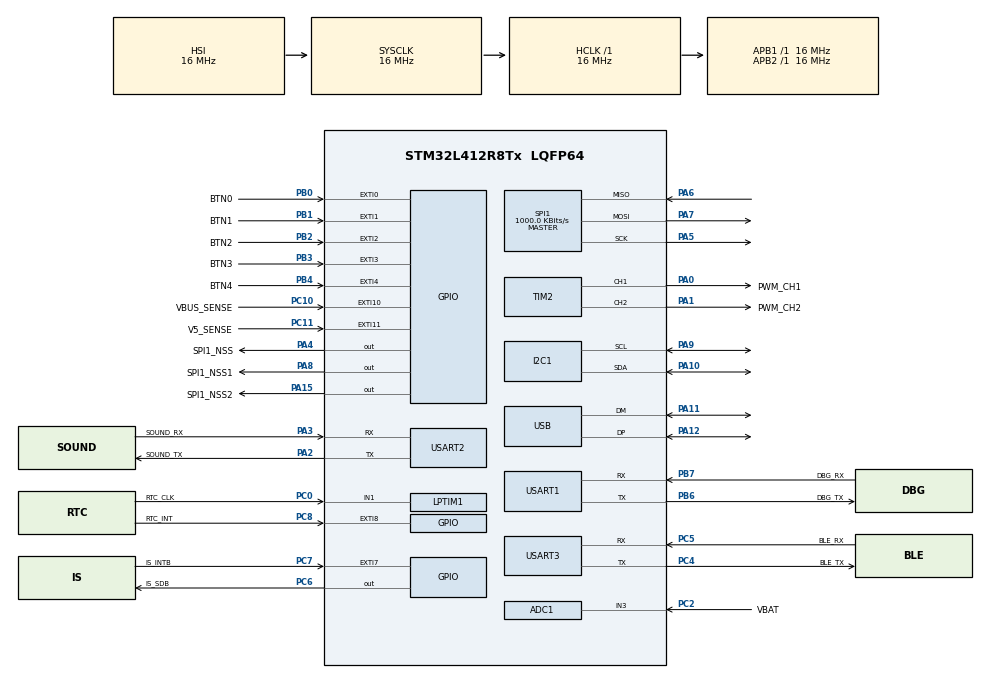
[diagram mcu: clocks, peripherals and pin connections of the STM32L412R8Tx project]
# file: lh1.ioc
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ADC1.Channel-0\#ChannelRegularConversion=ADC_CHANNEL_3
ADC1.NbrOfConversionFlag=1
ADC1.OffsetNumber-0\#ChannelRegularConversion=ADC_OFFSET_NONE
ADC1.Rank-0\#ChannelRegularConversion=1
ADC1.SamplingTime-0\#ChannelRegularConversion=ADC_SAMPLETIME_2CYCLES_5
ADC1.master=1
I2C1.Timing=0x00503D58
Mcu.Family=STM32L4
Mcu.Name=STM32L412R8Tx
Mcu.Package=LQFP64
NVIC.EXTI0_IRQn=true\:0\:0\:false\:false\:true\:true\:true\:true
NVIC.EXTI15_10_IRQn=true\:0\:0\:false\:false\:true\:true\:true\:true
NVIC.EXTI1_IRQn=true\:0\:0\:false\:false\:true\:true\:true\:true
NVIC.EXTI2_IRQn=true\:0\:0\:false\:false\:true\:true\:true\:true
NVIC.EXTI3_IRQn=true\:0\:0\:false\:false\:true\:true\:true\:true
NVIC.EXTI4_IRQn=true\:0\:0\:false\:false\:true\:true\:true\:true
NVIC.I2C1_EV_IRQn=true\:0\:0\:false\:false\:true\:true\:true\:true
NVIC.PriorityGroup=NVIC_PRIORITYGROUP_4
NVIC.RTC_Alarm_IRQn=true\:0\:0\:false\:false\:true\:true\:true\:true
NVIC.RTC_WKUP_IRQn=true\:0\:0\:false\:false\:true\:true\:true\:true
NVIC.USB_IRQn=true\:0\:0\:false\:false\:true\:true\:true\:true
PA0.GPIO_Label=PWM_CH1
PA0.Signal=S_TIM2_CH1
PA1.GPIO_Label=PWM_CH2
PA1.Signal=S_TIM2_CH2
PA10.GPIO_Pu=GPIO_PULLUP
PA10.Mode=I2C
PA10.Signal=I2C1_SDA
PA11.Mode=Device
PA11.Signal=USB_DM
PA12.Mode=Device
PA12.Signal=USB_DP
PA13\ (JTMS/SWDIO).Mode=Serial_Wire
PA13\ (JTMS/SWDIO).Signal=SYS_JTMS-SWDIO
PA14\ (JTCK/SWCLK).Mode=Serial_Wire
PA14\ (JTCK/SWCLK).Signal=SYS_JTCK-SWCLK
PA15\ (JTDI).GPIO_Label=SPI1_NSS2
PA15\ (JTDI).PinState=GPIO_PIN_SET
PA15\ (JTDI).Signal=GPIO_Output
PA2.GPIO_Label=SOUND_TX
PA2.Mode=Asynchronous
PA2.Signal=USART2_TX
PA3.GPIO_Label=SOUND_RX
PA3.Mode=Asynchronous
PA3.Signal=USART2_RX
PA4.GPIO_Label=SPI1_NSS
PA4.PinState=GPIO_PIN_SET
PA4.Signal=GPIO_Output
PA5.Mode=Full_Duplex_Master
PA5.Signal=SPI1_SCK
PA6.Mode=Full_Duplex_Master
PA6.Signal=SPI1_MISO
PA7.Mode=Full_Duplex_Master
PA7.Signal=SPI1_MOSI
PA8.GPIO_Label=SPI1_NSS1
PA8.PinState=GPIO_PIN_SET
PA8.Signal=GPIO_Output
PA9.GPIO_Pu=GPIO_PULLUP
PA9.Mode=I2C
PA9.Signal=I2C1_SCL
PB0.GPIO_Label=BTN0
PB0.GPIO_ModeDefaultEXTI=GPIO_MODE_IT_FALLING
PB0.GPIO_PuPd=GPIO_PULLUP
PB0.Signal=GPXTI0
PB1.GPIO_Label=BTN1
PB1.GPIO_ModeDefaultEXTI=GPIO_MODE_IT_FALLING
PB1.GPIO_PuPd=GPIO_PULLUP
PB1.Signal=GPXTI1
PB2.GPIO_Label=BTN2
PB2.GPIO_ModeDefaultEXTI=GPIO_MODE_IT_FALLING
PB2.GPIO_PuPd=GPIO_PULLUP
PB2.Signal=GPXTI2
PB3\ (JTDO/TRACESWO).GPIO_Label=BTN3
PB3\ (JTDO/TRACESWO).GPIO_ModeDefaultEXTI=GPIO_MODE_IT_FALLING
PB3\ (JTDO/TRACESWO).GPIO_PuPd=GPIO_PULLUP
PB3\ (JTDO/TRACESWO).Signal=GPXTI3
PB4\ (NJTRST).GPIO_Label=BTN4
PB4\ (NJTRST).GPIO_ModeDefaultEXTI=GPIO_MODE_IT_FALLING
PB4\ (NJTRST).GPIO_PuPd=GPIO_PULLUP
PB4\ (NJTRST).Signal=GPXTI4
PB6.GPIO_Label=DBG_TX
PB6.Mode=Asynchronous
PB6.Signal=USART1_TX
PB7.GPIO_Label=DBG_RX
PB7.Mode=Asynchronous
PB7.Signal=USART1_RX
PC0.GPIO_Label=RTC_CLK
PC0.Mode=Counts_external_clock_with_synchro_01_occur1
PC0.Signal=LPTIM1_IN1
PC10.GPIO_Label=VBUS_SENSE
PC10.Signal=GPXTI10
PC11.GPIO_Label=V5_SENSE
PC11.Signal=GPXTI11
PC2.GPIO_Label=VBAT
PC2.Signal=ADCx_IN3
PC4.GPIO_Label=BLE_TX
PC4.Mode=Asynchronous
PC4.Signal=USART3_TX
PC5.GPIO_Label=BLE_RX
PC5.Mode=Asynchronous
PC5.Signal=USART3_RX
PC6.GPIO_Label=IS_SDB
PC6.Signal=GPIO_Output
PC7.GPIO_Label=IS_INTB
PC7.Signal=GPXTI7
PC8.GPIO_Label=RTC_INT
PC8.Signal=GPXTI8
ProjectManager.HeapSize=0x200
ProjectManager.StackSize=0x400
ProjectManager.TargetToolchain=STM32CubeIDE
RCC.ADCFreq_Value=16000000
RCC.AHBFreq_Value=16000000
RCC.APB1Freq_Value=16000000
RCC.APB1TimFreq_Value=16000000
RCC.APB2Freq_Value=16000000
RCC.APB2TimFreq_Value=16000000
RCC.CK48CLockSelection=RCC_USBCLKSOURCE_HSI48
RCC.CortexFreq_Value=16000000
RCC.HCLKFreq_Value=16000000
RCC.HSE_VALUE=8000000
RCC.HSI48_VALUE=48000000
RCC.HSI_VALUE=16000000
RCC.LSE_VALUE=32768
RCC.MSI_VALUE=4000000
RCC.SYSCLKFreq_VALUE=16000000
RCC.SYSCLKSource=RCC_SYSCLKSOURCE_HSI
RCC.USBFreq_Value=48000000
RCC.VCOOutputFreq_Value=32000000
RTC.Alarm-Alarm\ A=RTC_ALARM_A
RTC.Alarm_B-Alarm\ B=RTC_ALARM_B
RTC.Date=24
RTC.Format=RTC_FORMAT_BIN
RTC.Month=RTC_MONTH_SEPTEMBER
RTC.Seconds_A-Alarm\ A=1
RTC.SynchPrediv=249
RTC.WeekDay=RTC_WEEKDAY_WEDNESDAY
RTC.Year=25
SH.ADCx_IN3.0=ADC1_IN3,IN3-Single-Ended
SH.S_TIM2_CH1.0=TIM2_CH1,Output Compare1 CH1
SH.S_TIM2_CH2.0=TIM2_CH2,Output Compare2 CH2
SPI1.BaudRatePrescaler=SPI_BAUDRATEPRESCALER_16
SPI1.CLKPhase=SPI_PHASE_2EDGE
SPI1.CLKPolarity=SPI_POLARITY_HIGH
SPI1.CalculateBaudRate=1000.0 KBits/s
SPI1.DataSize=SPI_DATASIZE_8BIT
SPI1.Direction=SPI_DIRECTION_2LINES
SPI1.Mode=SPI_MODE_MASTER
SPI1.VirtualType=VM_MASTER
TIM2.Channel-Output\ Compare1\ CH1=TIM_CHANNEL_1
TIM2.Channel-Output\ Compare2\ CH2=TIM_CHANNEL_2
USART1.VirtualMode-Asynchronous=VM_ASYNC
USART2.VirtualMode-Asynchronous=VM_ASYNC
USART3.VirtualMode-Asynchronous=VM_ASYNC
USB_DEVICE.CLASS_NAME_FS=CDC
USB_DEVICE.VirtualMode=Cdc
USB_DEVICE.VirtualModeFS=Cdc_FS
VP_RTC_VS_RTC_Activate.Mode=RTC_Enabled
VP_RTC_VS_RTC_Alarm_A_Intern.Mode=Alarm A
VP_RTC_VS_RTC_Alarm_B_Intern.Mode=Alarm B
VP_RTC_VS_RTC_Calendar.Mode=RTC_Calendar
VP_RTC_VS_RTC_WakeUp_intern.Mode=WakeUp
VP_TIM2_VS_ClockSourceINT.Mode=Internal
VP_USB_DEVICE_VS_USB_DEVICE_CDC_FS.Mode=CDC_FS
board=custom

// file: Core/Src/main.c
/* USER CODE BEGIN Header */
/**
  ******************************************************************************
  * @file           : main.c
  * @brief          : Main program body
  ******************************************************************************
  * @attention
  *
  * Copyright (c) 2024 STMicroelectronics.
  * All rights reserved.
  *
  * This software is licensed under terms that can be found in the LICENSE file
  * in the root directory of this software component.
  * If no LICENSE file comes with this software, it is provided AS-IS.
  *
  ******************************************************************************
  */
/* USER CODE END Header */
#include "main.h"
#include "usb_device.h"

/* USER CODE BEGIN Includes */
#include "scheduler.h"
#include "leds.h"
#include "gpios.h"
#include "rtc.h"
#include "alarm.h"

/* USER CODE END Includes */

ADC_HandleTypeDef hadc1;

I2C_HandleTypeDef hi2c1;

LPTIM_HandleTypeDef hlptim1;

RTC_HandleTypeDef hrtc;

SPI_HandleTypeDef hspi1;

TIM_HandleTypeDef htim2;

UART_HandleTypeDef huart1;
UART_HandleTypeDef huart2;
UART_HandleTypeDef huart3;

void SystemClock_Config(void);
static void MX_GPIO_Init(void);
static void MX_RTC_Init(void);
static void MX_I2C1_Init(void);
static void MX_SPI1_Init(void);
static void MX_TIM2_Init(void);
static void MX_USART1_UART_Init(void);
static void MX_USART2_UART_Init(void);
static void MX_USART3_UART_Init(void);
static void MX_LPTIM1_Init(void);
static void MX_ADC1_Init(void);

/* USER CODE BEGIN 0 */

// - main task -----------------------------------------------------------------
static int8_t vbus_task_func(uint8_t event, void *data);
static task_t vbus_task = {.name = "VBUS/USB", .task = vbus_task_func};
int8_t vbus_tid;

static volatile uint16_t main_cnt = 0;
static uint8_t time_cnt = 0;
static uint8_t day_mask = 0x01;
static uint8_t disp_colon = 1;
static volatile uint8_t test_pwm = 100;

static int8_t vbus_task_func(uint8_t event, void *data) {
	if(event == VBUS_EV_PLUGGED_IN) {
		// activate USB
		MX_USB_DEVICE_Init();
		power_mode_request(POWER_MODE_RUN);
	}
	if(event == VBUS_EV_PULLED_OUT) {
		// deactivate USB
		power_mode_release(POWER_MODE_RUN);
	}
	return 1; // stay on
}

/* USER CODE END 0 */

int main(void)
{

  /* USER CODE BEGIN 1 */
// pfad zu arm-none-eabi-...    /opt/st/stm32cubeide_1.16.0/plugins/com.st.stm32cube.ide.mcu.externaltools.gnu-tools-for-stm32.12.3.rel1.linux64_1.0.200.202406132123/tools/bin/arm-none-eabi-size
  /* USER CODE END 1 */

  /* MCU Configuration--------------------------------------------------------*/

  /* Reset of all peripherals, Initializes the Flash interface and the Systick. */
  HAL_Init();

  /* Configure the system clock */
  SystemClock_Config();

  /* Initialize all configured peripherals */
  MX_GPIO_Init();
  MX_RTC_Init();
  MX_I2C1_Init();
  MX_SPI1_Init();
  MX_TIM2_Init();
  MX_USART1_UART_Init();
  MX_USART2_UART_Init();
  MX_USART3_UART_Init();
  MX_LPTIM1_Init();
  MX_ADC1_Init();
  MX_USB_DEVICE_Init();
  /* USER CODE BEGIN 2 */

  scheduler_init();
  power_mode_request(POWER_MODE_RUN);
  //power_mode_request(POWER_MODE_SLEEP);

  HAL_SuspendTick();

  scheduler_add_task(&vbus_task);
  vbus_tid = vbus_task.tid;
  scheduler_start_task(vbus_tid);

  gpios_init();
  gpios_button_enable_irq();
  gpios_vbus_enable_irq();

  leds_init();
  leds_front_dsiplay(0xAB);
  leds_front_dsiplay_power_up();

  //leds_front_test_pattern();
  leds_front_dsiplay_set_brightness(test_pwm);
  leds_front_display_update_time(12, 39, 1, 0x37);

  alarm_init();
  ui_init();
  rtc_init();
  rtc_set_date_time(25, RTC_MONTH_SEPTEMBER, 24, 17, 58, 45, RTC_WEEKDAY_WEDNESDAY);
  rtc_enable_1s_irq();

  // stay in scheduler
  scheduler_run();

  /* USER CODE END 2 */

  /* Infinite loop */
  while (1)
  {

  }
}

void SystemClock_Config(void)
{
  RCC_OscInitTypeDef RCC_OscInitStruct = {0};
  RCC_ClkInitTypeDef RCC_ClkInitStruct = {0};

  /** Configure the main internal regulator output voltage
  */
  if (HAL_PWREx_ControlVoltageScaling(PWR_REGULATOR_VOLTAGE_SCALE1) != HAL_OK)
  {
    Error_Handler();
  }

  /** Initializes the RCC Oscillators according to the specified parameters
  * in the RCC_OscInitTypeDef structure.
  */
  RCC_OscInitStruct.OscillatorType = RCC_OSCILLATORTYPE_HSI48|RCC_OSCILLATORTYPE_HSI
                              |RCC_OSCILLATORTYPE_LSI;
  RCC_OscInitStruct.HSIState = RCC_HSI_ON;
  RCC_OscInitStruct.HSI48State = RCC_HSI48_ON;
  RCC_OscInitStruct.HSICalibrationValue = RCC_HSICALIBRATION_DEFAULT;
  RCC_OscInitStruct.LSIState = RCC_LSI_ON;
  RCC_OscInitStruct.PLL.PLLState = RCC_PLL_NONE;
  if (HAL_RCC_OscConfig(&RCC_OscInitStruct) != HAL_OK)
  {
    Error_Handler();
  }

  /** Initializes the CPU, AHB and APB buses clocks
  */
  RCC_ClkInitStruct.ClockType = RCC_CLOCKTYPE_HCLK|RCC_CLOCKTYPE_SYSCLK
                              |RCC_CLOCKTYPE_PCLK1|RCC_CLOCKTYPE_PCLK2;
  RCC_ClkInitStruct.SYSCLKSource = RCC_SYSCLKSOURCE_HSI;
  RCC_ClkInitStruct.AHBCLKDivider = RCC_SYSCLK_DIV1;
  RCC_ClkInitStruct.APB1CLKDivider = RCC_HCLK_DIV1;
  RCC_ClkInitStruct.APB2CLKDivider = RCC_HCLK_DIV1;

  if (HAL_RCC_ClockConfig(&RCC_ClkInitStruct, FLASH_LATENCY_0) != HAL_OK)
  {
    Error_Handler();
  }
}

static void MX_ADC1_Init(void)
{

  ADC_MultiModeTypeDef multimode = {0};
  ADC_ChannelConfTypeDef sConfig = {0};

  /** Common config
  */
  hadc1.Instance = ADC1;
  hadc1.Init.ClockPrescaler = ADC_CLOCK_ASYNC_DIV1;
  hadc1.Init.Resolution = ADC_RESOLUTION_12B;
  hadc1.Init.DataAlign = ADC_DATAALIGN_RIGHT;
  hadc1.Init.ScanConvMode = ADC_SCAN_DISABLE;
  hadc1.Init.EOCSelection = ADC_EOC_SINGLE_CONV;
  hadc1.Init.LowPowerAutoWait = DISABLE;
  hadc1.Init.ContinuousConvMode = DISABLE;
  hadc1.Init.NbrOfConversion = 1;
  hadc1.Init.DiscontinuousConvMode = DISABLE;
  hadc1.Init.ExternalTrigConv = ADC_SOFTWARE_START;
  hadc1.Init.ExternalTrigConvEdge = ADC_EXTERNALTRIGCONVEDGE_NONE;
  hadc1.Init.DMAContinuousRequests = DISABLE;
  hadc1.Init.Overrun = ADC_OVR_DATA_PRESERVED;
  hadc1.Init.OversamplingMode = DISABLE;
  if (HAL_ADC_Init(&hadc1) != HAL_OK)
  {
    Error_Handler();
  }

  /** Configure the ADC multi-mode
  */
  multimode.Mode = ADC_MODE_INDEPENDENT;
  if (HAL_ADCEx_MultiModeConfigChannel(&hadc1, &multimode) != HAL_OK)
  {
    Error_Handler();
  }

  /** Configure Regular Channel
  */
  sConfig.Channel = ADC_CHANNEL_3;
  sConfig.Rank = ADC_REGULAR_RANK_1;
  sConfig.SamplingTime = ADC_SAMPLETIME_2CYCLES_5;
  sConfig.SingleDiff = ADC_SINGLE_ENDED;
  sConfig.OffsetNumber = ADC_OFFSET_NONE;
  sConfig.Offset = 0;
  if (HAL_ADC_ConfigChannel(&hadc1, &sConfig) != HAL_OK)
  {
    Error_Handler();
  }

}

static void MX_I2C1_Init(void)
{

  hi2c1.Instance = I2C1;
  hi2c1.Init.Timing = 0x00503D58;
  hi2c1.Init.OwnAddress1 = 0;
  hi2c1.Init.AddressingMode = I2C_ADDRESSINGMODE_7BIT;
  hi2c1.Init.DualAddressMode = I2C_DUALADDRESS_DISABLE;
  hi2c1.Init.OwnAddress2 = 0;
  hi2c1.Init.OwnAddress2Masks = I2C_OA2_NOMASK;
  hi2c1.Init.GeneralCallMode = I2C_GENERALCALL_DISABLE;
  hi2c1.Init.NoStretchMode = I2C_NOSTRETCH_DISABLE;
  if (HAL_I2C_Init(&hi2c1) != HAL_OK)
  {
    Error_Handler();
  }

  /** Configure Analogue filter
  */
  if (HAL_I2CEx_ConfigAnalogFilter(&hi2c1, I2C_ANALOGFILTER_ENABLE) != HAL_OK)
  {
    Error_Handler();
  }

  /** Configure Digital filter
  */
  if (HAL_I2CEx_ConfigDigitalFilter(&hi2c1, 0) != HAL_OK)
  {
    Error_Handler();
  }

}

static void MX_LPTIM1_Init(void)
{

  hlptim1.Instance = LPTIM1;
  hlptim1.Init.Clock.Source = LPTIM_CLOCKSOURCE_APBCLOCK_LPOSC;
  hlptim1.Init.Clock.Prescaler = LPTIM_PRESCALER_DIV1;
  hlptim1.Init.UltraLowPowerClock.Polarity = LPTIM_CLOCKPOLARITY_RISING;
  hlptim1.Init.UltraLowPowerClock.SampleTime = LPTIM_CLOCKSAMPLETIME_DIRECTTRANSITION;
  hlptim1.Init.Trigger.Source = LPTIM_TRIGSOURCE_SOFTWARE;
  hlptim1.Init.OutputPolarity = LPTIM_OUTPUTPOLARITY_HIGH;
  hlptim1.Init.UpdateMode = LPTIM_UPDATE_IMMEDIATE;
  hlptim1.Init.CounterSource = LPTIM_COUNTERSOURCE_EXTERNAL;
  hlptim1.Init.Input1Source = LPTIM_INPUT1SOURCE_GPIO;
  hlptim1.Init.Input2Source = LPTIM_INPUT2SOURCE_GPIO;
  hlptim1.Init.RepetitionCounter = 0;
  if (HAL_LPTIM_Init(&hlptim1) != HAL_OK)
  {
    Error_Handler();
  }

}

static void MX_RTC_Init(void)
{

  RTC_TimeTypeDef sTime = {0};
  RTC_DateTypeDef sDate = {0};
  RTC_AlarmTypeDef sAlarm = {0};

  /** Initialize RTC Only
  */
  hrtc.Instance = RTC;
  hrtc.Init.HourFormat = RTC_HOURFORMAT_24;
  hrtc.Init.AsynchPrediv = 127;
  hrtc.Init.SynchPrediv = 249;
  hrtc.Init.OutPut = RTC_OUTPUT_DISABLE;
  hrtc.Init.OutPutRemap = RTC_OUTPUT_REMAP_NONE;
  hrtc.Init.OutPutPolarity = RTC_OUTPUT_POLARITY_HIGH;
  hrtc.Init.OutPutType = RTC_OUTPUT_TYPE_OPENDRAIN;
  hrtc.Init.OutPutPullUp = RTC_OUTPUT_PULLUP_NONE;
  if (HAL_RTC_Init(&hrtc) != HAL_OK)
  {
    Error_Handler();
  }

  /** Initialize RTC and set the Time and Date
  */
  sTime.Hours = 0;
  sTime.Minutes = 0;
  sTime.Seconds = 0;
  sTime.DayLightSaving = RTC_DAYLIGHTSAVING_NONE;
  sTime.StoreOperation = RTC_STOREOPERATION_RESET;
  if (HAL_RTC_SetTime(&hrtc, &sTime, RTC_FORMAT_BIN) != HAL_OK)
  {
    Error_Handler();
  }
  sDate.WeekDay = RTC_WEEKDAY_WEDNESDAY;
  sDate.Month = RTC_MONTH_SEPTEMBER;
  sDate.Date = 24;
  sDate.Year = 25;

  if (HAL_RTC_SetDate(&hrtc, &sDate, RTC_FORMAT_BIN) != HAL_OK)
  {
    Error_Handler();
  }

  /** Enable the Alarm A
  */
  sAlarm.AlarmTime.Hours = 0;
  sAlarm.AlarmTime.Minutes = 0;
  sAlarm.AlarmTime.Seconds = 1;
  sAlarm.AlarmTime.SubSeconds = 0;
  sAlarm.AlarmTime.DayLightSaving = RTC_DAYLIGHTSAVING_NONE;
  sAlarm.AlarmTime.StoreOperation = RTC_STOREOPERATION_RESET;
  sAlarm.AlarmMask = RTC_ALARMMASK_NONE;
  sAlarm.AlarmSubSecondMask = RTC_ALARMSUBSECONDMASK_ALL;
  sAlarm.AlarmDateWeekDaySel = RTC_ALARMDATEWEEKDAYSEL_DATE;
  sAlarm.AlarmDateWeekDay = 1;
  sAlarm.Alarm = RTC_ALARM_A;
  if (HAL_RTC_SetAlarm_IT(&hrtc, &sAlarm, RTC_FORMAT_BIN) != HAL_OK)
  {
    Error_Handler();
  }

  /** Enable the Alarm B
  */
  sAlarm.AlarmTime.Seconds = 0;
  sAlarm.Alarm = RTC_ALARM_B;
  if (HAL_RTC_SetAlarm_IT(&hrtc, &sAlarm, RTC_FORMAT_BIN) != HAL_OK)
  {
    Error_Handler();
  }

  /** Enable the WakeUp
  */
  if (HAL_RTCEx_SetWakeUpTimer_IT(&hrtc, 0, RTC_WAKEUPCLOCK_RTCCLK_DIV16, 0) != HAL_OK)
  {
    Error_Handler();
  }
  /* USER CODE BEGIN RTC_Init 2 */
  HAL_NVIC_EnableIRQ(RTC_Alarm_IRQn);
  /* USER CODE END RTC_Init 2 */

}

static void MX_SPI1_Init(void)
{

  /* SPI1 parameter configuration*/
  hspi1.Instance = SPI1;
  hspi1.Init.Mode = SPI_MODE_MASTER;
  hspi1.Init.Direction = SPI_DIRECTION_2LINES;
  hspi1.Init.DataSize = SPI_DATASIZE_8BIT;
  hspi1.Init.CLKPolarity = SPI_POLARITY_HIGH;
  hspi1.Init.CLKPhase = SPI_PHASE_2EDGE;
  hspi1.Init.NSS = SPI_NSS_SOFT;
  hspi1.Init.BaudRatePrescaler = SPI_BAUDRATEPRESCALER_16;
  hspi1.Init.FirstBit = SPI_FIRSTBIT_MSB;
  hspi1.Init.TIMode = SPI_TIMODE_DISABLE;
  hspi1.Init.CRCCalculation = SPI_CRCCALCULATION_DISABLE;
  hspi1.Init.CRCPolynomial = 7;
  hspi1.Init.CRCLength = SPI_CRC_LENGTH_DATASIZE;
  hspi1.Init.NSSPMode = SPI_NSS_PULSE_DISABLE;
  if (HAL_SPI_Init(&hspi1) != HAL_OK)
  {
    Error_Handler();
  }

}

static void MX_TIM2_Init(void)
{

  TIM_ClockConfigTypeDef sClockSourceConfig = {0};
  TIM_MasterConfigTypeDef sMasterConfig = {0};
  TIM_OC_InitTypeDef sConfigOC = {0};

  htim2.Instance = TIM2;
  htim2.Init.Prescaler = 0;
  htim2.Init.CounterMode = TIM_COUNTERMODE_UP;
  htim2.Init.Period = 4294967295;
  htim2.Init.ClockDivision = TIM_CLOCKDIVISION_DIV1;
  htim2.Init.AutoReloadPreload = TIM_AUTORELOAD_PRELOAD_DISABLE;
  if (HAL_TIM_Base_Init(&htim2) != HAL_OK)
  {
    Error_Handler();
  }
  sClockSourceConfig.ClockSource = TIM_CLOCKSOURCE_INTERNAL;
  if (HAL_TIM_ConfigClockSource(&htim2, &sClockSourceConfig) != HAL_OK)
  {
    Error_Handler();
  }
  if (HAL_TIM_OC_Init(&htim2) != HAL_OK)
  {
    Error_Handler();
  }
  sMasterConfig.MasterOutputTrigger = TIM_TRGO_RESET;
  sMasterConfig.MasterSlaveMode = TIM_MASTERSLAVEMODE_DISABLE;
  if (HAL_TIMEx_MasterConfigSynchronization(&htim2, &sMasterConfig) != HAL_OK)
  {
    Error_Handler();
  }
  sConfigOC.OCMode = TIM_OCMODE_TIMING;
  sConfigOC.Pulse = 0;
  sConfigOC.OCPolarity = TIM_OCPOLARITY_HIGH;
  sConfigOC.OCFastMode = TIM_OCFAST_DISABLE;
  if (HAL_TIM_OC_ConfigChannel(&htim2, &sConfigOC, TIM_CHANNEL_1) != HAL_OK)
  {
    Error_Handler();
  }
  if (HAL_TIM_OC_ConfigChannel(&htim2, &sConfigOC, TIM_CHANNEL_2) != HAL_OK)
  {
    Error_Handler();
  }
  HAL_TIM_MspPostInit(&htim2);

}

static void MX_USART1_UART_Init(void)
{

  huart1.Instance = USART1;
  huart1.Init.BaudRate = 115200;
  huart1.Init.WordLength = UART_WORDLENGTH_8B;
  huart1.Init.StopBits = UART_STOPBITS_1;
  huart1.Init.Parity = UART_PARITY_NONE;
  huart1.Init.Mode = UART_MODE_TX_RX;
  huart1.Init.HwFlowCtl = UART_HWCONTROL_NONE;
  huart1.Init.OverSampling = UART_OVERSAMPLING_16;
  huart1.Init.OneBitSampling = UART_ONE_BIT_SAMPLE_DISABLE;
  huart1.AdvancedInit.AdvFeatureInit = UART_ADVFEATURE_NO_INIT;
  if (HAL_UART_Init(&huart1) != HAL_OK)
  {
    Error_Handler();
  }

}

static void MX_USART2_UART_Init(void)
{

  huart2.Instance = USART2;
  huart2.Init.BaudRate = 115200;
  huart2.Init.WordLength = UART_WORDLENGTH_8B;
  huart2.Init.StopBits = UART_STOPBITS_1;
  huart2.Init.Parity = UART_PARITY_NONE;
  huart2.Init.Mode = UART_MODE_TX_RX;
  huart2.Init.HwFlowCtl = UART_HWCONTROL_NONE;
  huart2.Init.OverSampling = UART_OVERSAMPLING_16;
  huart2.Init.OneBitSampling = UART_ONE_BIT_SAMPLE_DISABLE;
  huart2.AdvancedInit.AdvFeatureInit = UART_ADVFEATURE_NO_INIT;
  if (HAL_UART_Init(&huart2) != HAL_OK)
  {
    Error_Handler();
  }

}

static void MX_USART3_UART_Init(void)
{

  huart3.Instance = USART3;
  huart3.Init.BaudRate = 115200;
  huart3.Init.WordLength = UART_WORDLENGTH_8B;
  huart3.Init.StopBits = UART_STOPBITS_1;
  huart3.Init.Parity = UART_PARITY_NONE;
  huart3.Init.Mode = UART_MODE_TX_RX;
  huart3.Init.HwFlowCtl = UART_HWCONTROL_NONE;
  huart3.Init.OverSampling = UART_OVERSAMPLING_16;
  huart3.Init.OneBitSampling = UART_ONE_BIT_SAMPLE_DISABLE;
  huart3.AdvancedInit.AdvFeatureInit = UART_ADVFEATURE_NO_INIT;
  if (HAL_UART_Init(&huart3) != HAL_OK)
  {
    Error_Handler();
  }

}

static void MX_GPIO_Init(void)
{
  GPIO_InitTypeDef GPIO_InitStruct = {0};

  /* GPIO Ports Clock Enable */
  __HAL_RCC_GPIOC_CLK_ENABLE();
  __HAL_RCC_GPIOA_CLK_ENABLE();
  __HAL_RCC_GPIOB_CLK_ENABLE();

  /*Configure GPIO pin Output Level */
  HAL_GPIO_WritePin(GPIOA, SPI1_NSS_Pin|SPI1_NSS1_Pin|SPI1_NSS2_Pin, GPIO_PIN_SET);

  /*Configure GPIO pin Output Level */
  HAL_GPIO_WritePin(IS_SDB_GPIO_Port, IS_SDB_Pin, GPIO_PIN_RESET);

  /*Configure GPIO pins : SPI1_NSS_Pin SPI1_NSS1_Pin SPI1_NSS2_Pin */
  GPIO_InitStruct.Pin = SPI1_NSS_Pin|SPI1_NSS1_Pin|SPI1_NSS2_Pin;
  GPIO_InitStruct.Mode = GPIO_MODE_OUTPUT_PP;
  GPIO_InitStruct.Pull = GPIO_NOPULL;
  GPIO_InitStruct.Speed = GPIO_SPEED_FREQ_LOW;
  HAL_GPIO_Init(GPIOA, &GPIO_InitStruct);

  /*Configure GPIO pins : BTN0_Pin BTN1_Pin BTN2_Pin BTN3_Pin
                           BTN4_Pin */
  GPIO_InitStruct.Pin = BTN0_Pin|BTN1_Pin|BTN2_Pin|BTN3_Pin
                          |BTN4_Pin;
  GPIO_InitStruct.Mode = GPIO_MODE_IT_FALLING;
  GPIO_InitStruct.Pull = GPIO_PULLUP;
  HAL_GPIO_Init(GPIOB, &GPIO_InitStruct);

  /*Configure GPIO pin : IS_SDB_Pin */
  GPIO_InitStruct.Pin = IS_SDB_Pin;
  GPIO_InitStruct.Mode = GPIO_MODE_OUTPUT_PP;
  GPIO_InitStruct.Pull = GPIO_NOPULL;
  GPIO_InitStruct.Speed = GPIO_SPEED_FREQ_LOW;
  HAL_GPIO_Init(IS_SDB_GPIO_Port, &GPIO_InitStruct);

  /*Configure GPIO pins : IS_INTB_Pin RTC_INT_Pin VBUS_SENSE_Pin V5_SENSE_Pin */
  GPIO_InitStruct.Pin = IS_INTB_Pin|RTC_INT_Pin|VBUS_SENSE_Pin|V5_SENSE_Pin;
  GPIO_InitStruct.Mode = GPIO_MODE_IT_RISING;
  GPIO_InitStruct.Pull = GPIO_NOPULL;
  HAL_GPIO_Init(GPIOC, &GPIO_InitStruct);

  /* EXTI interrupt init*/
  HAL_NVIC_SetPriority(EXTI0_IRQn, 0, 0);
  HAL_NVIC_EnableIRQ(EXTI0_IRQn);

  HAL_NVIC_SetPriority(EXTI1_IRQn, 0, 0);
  HAL_NVIC_EnableIRQ(EXTI1_IRQn);

  HAL_NVIC_SetPriority(EXTI2_IRQn, 0, 0);
  HAL_NVIC_EnableIRQ(EXTI2_IRQn);

  HAL_NVIC_SetPriority(EXTI3_IRQn, 0, 0);
  HAL_NVIC_EnableIRQ(EXTI3_IRQn);

  HAL_NVIC_SetPriority(EXTI4_IRQn, 0, 0);
  HAL_NVIC_EnableIRQ(EXTI4_IRQn);

  HAL_NVIC_SetPriority(EXTI15_10_IRQn, 0, 0);
  HAL_NVIC_EnableIRQ(EXTI15_10_IRQn);

}

void Error_Handler(void)
{
  __disable_irq();
  while (1)
  {
  }
}
